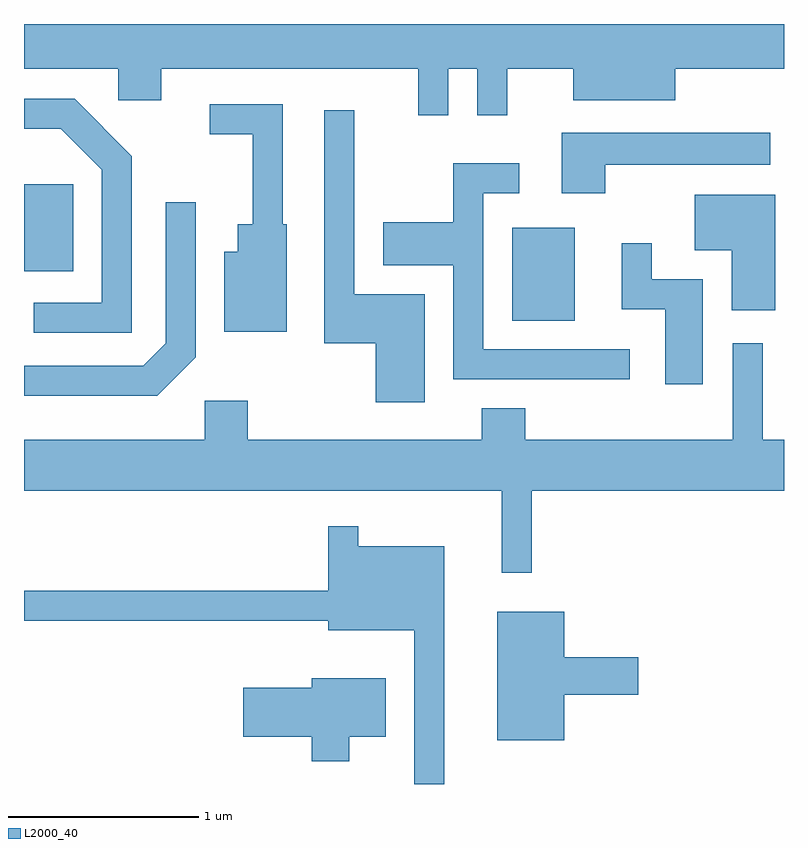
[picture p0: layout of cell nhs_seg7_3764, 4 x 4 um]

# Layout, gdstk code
import gdstk
lib = gdstk.Library(unit=1e-6, precision=1e-09)
def R(c, l, rs):  # rectangles x0, y0, x1, y1
    for r in rs: c.add(gdstk.rectangle(r[:2], r[2:], *l))
def P(c, l, *ps):  # polygons
    for p in ps: c.add(gdstk.Polygon(p, *l))
L2000_40 = (2000, 40)

nhs_seg7_3764 = lib.new_cell('nhs_seg7_3764')
R(nhs_seg7_3764, L2000_40, [(302.181,1790.691,302.509,1791.179), (299.611,1790.951,299.869,1791.409)])
P(nhs_seg7_3764, L2000_40, [(301.844,1792.016),(301.996,1792.016),(301.996,1791.773),(302.154,1791.773),(302.154,1792.016),(302.501,1792.016),(302.501,1791.851),(303.039,1791.851),(303.039,1792.016),(303.611,1792.016),(303.611,1792.252),(299.611,1792.252),(299.611,1792.016),(300.106,1792.016),(300.106,1791.851),(300.334,1791.851),(300.334,1792.016),(301.686,1792.016),(301.686,1791.773),(301.844,1791.773)],
  [(300.179,1791.557),(299.877,1791.859),(299.611,1791.859),(299.611,1791.701),(299.804,1791.701),(300.021,1791.484),(300.021,1790.784),(299.663,1790.784),(299.663,1790.626),(300.179,1790.626)],
  [(300.994,1791.199),(300.974,1791.199),(300.974,1791.829),(300.588,1791.829),(300.588,1791.671),(300.816,1791.671),(300.816,1791.199),(300.736,1791.199),(300.736,1791.054),(300.666,1791.054),(300.666,1790.631),(300.994,1790.631)],
  [(301.719,1790.829),(301.349,1790.829),(301.349,1791.798),(301.191,1791.798),(301.191,1790.571),(301.461,1790.571),(301.461,1790.261),(301.719,1790.261)],
  [(302.669,1791.511),(303.538,1791.511),(303.538,1791.679),(302.441,1791.679),(302.441,1791.361),(302.669,1791.361)],
  [(302.798,1790.539),(302.029,1790.539),(302.029,1791.361),(302.218,1791.361),(302.218,1791.519),(301.871,1791.519),(301.871,1791.209),(301.501,1791.209),(301.501,1790.981),(301.871,1790.981),(301.871,1790.381),(302.798,1790.381)],
  [(303.564,1791.354),(303.141,1791.354),(303.141,1791.061),(303.336,1791.061),(303.336,1790.746),(303.564,1790.746)],
  [(300.514,1790.499),(300.514,1791.313),(300.356,1791.313),(300.356,1790.572),(300.239,1790.454),(299.611,1790.454),(299.611,1790.296),(300.312,1790.296)],
  [(303.184,1790.909),(302.914,1790.909),(302.914,1791.098),(302.756,1791.098),(302.756,1790.751),(302.986,1790.751),(302.986,1790.356),(303.184,1790.356)],
  [(302.284,1789.796),(303.611,1789.796),(303.611,1790.064),(303.499,1790.064),(303.499,1790.573),(303.341,1790.573),(303.341,1790.064),(302.249,1790.064),(302.249,1790.229),(302.021,1790.229),(302.021,1790.064),(300.789,1790.064),(300.789,1790.269),(300.561,1790.269),(300.561,1790.064),(299.611,1790.064),(299.611,1789.796),(302.126,1789.796),(302.126,1789.363),(302.284,1789.363)],
  [(301.824,1789.504),(301.369,1789.504),(301.369,1789.608),(301.211,1789.608),(301.211,1789.269),(299.611,1789.269),(299.611,1789.111),(301.211,1789.111),(301.211,1789.061),(301.666,1789.061),(301.666,1788.252),(301.824,1788.252)],
  [(302.454,1788.721),(302.844,1788.721),(302.844,1788.919),(302.454,1788.919),(302.454,1789.159),(302.101,1789.159),(302.101,1788.481),(302.454,1788.481)],
  [(301.324,1788.501),(301.514,1788.501),(301.514,1788.809),(301.126,1788.809),(301.126,1788.759),(300.766,1788.759),(300.766,1788.501),(301.126,1788.501),(301.126,1788.371),(301.324,1788.371)])

lib.write_gds('nhs_seg7_3764.gds')
